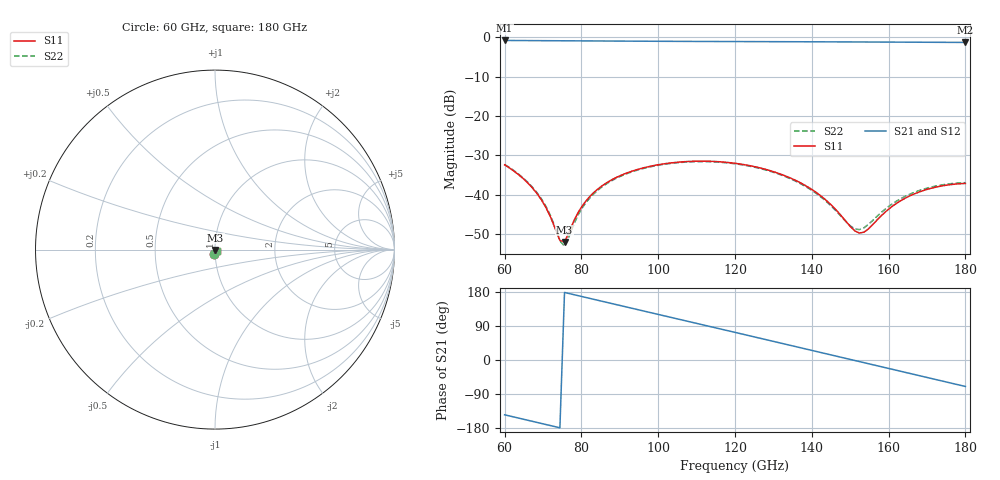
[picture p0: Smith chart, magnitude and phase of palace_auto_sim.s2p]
#  GHZ S DB R 50
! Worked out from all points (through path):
!   101 points, 60 GHz to 180 GHz, reference 50 ohm
!   highest |S21| = -0.85 dB at 60 GHz (marker M1); lowest = -1.3 dB at 180 GHz (marker M2)
!   group delay of S21, straight-line fit = 6.6 ps
!   lowest |S11| = -51.9 dB at 75.6 GHz (marker M3), VSWR 1.01, Z = 50.2 - j0.159 ohm
!   |S11| at or under -10 dB: start of sweep to end of sweep
!   |S22| runs from -53.0 to -31.6 dB; largest |S21 - S12| = 1e-13
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60  -32.38 -104.6  -0.85 -144.6  -0.85 -144.6  -32.28 -105.2
64.8  -35.83 -112.2  -0.87 -156.1  -0.87 -156.1  -35.68 -113.1
68.4  -39.61 -115.2  -0.89 -164.6  -0.89 -164.6  -39.39 -116.8
72  -45.68 -108.5  -0.91 -173.2  -0.91 -173.2  -45.34 -112.3
74.4  -51.52 -74.9  -0.92 -178.9  -0.92 -178.9  -51.64 -83.8
75.6  -51.94 -38.9  -0.93 178.2  -0.93 178.2  -52.99 -46.0
78  -46.65 -1.0  -0.94 172.5  -0.94 172.5  -47.46 -0.9
80.4  -42.54 6.5  -0.96 166.8  -0.96 166.8  -43.02 7.3
84  -38.73 5.9  -0.98 158.3  -0.98 158.3  -39.03 6.6
88.8  -35.71 -0.4  -1.00 146.9  -1.00 146.9  -35.92 0.2
100.8  -32.22 -21.7  -1.06 118.4  -1.06 118.4  -32.35 -21.2
110.4  -31.45 -40.5  -1.10 95.7  -1.10 95.7  -31.56 -40.0
120  -31.98 -60.2  -1.13 72.9  -1.13 72.9  -32.10 -59.6
130.8  -34.36 -81.9  -1.16 47.2  -1.16 47.2  -34.52 -80.9
140.4  -38.87 -96.9  -1.19 24.4  -1.19 24.4  -39.11 -94.7
145.2  -42.68 -98.1  -1.21 13.0  -1.21 13.0  -42.95 -94.2
150  -47.98 -80.3  -1.22 1.5  -1.22 1.5  -47.82 -72.5
152.4  -49.67 -54.6  -1.23 -4.2  -1.23 -4.2  -48.79 -47.4
154.8  -48.56 -27.8  -1.24 -9.9  -1.24 -9.9  -47.43 -25.0
160.8  -43.01 -7.4  -1.27 -24.2  -1.27 -24.2  -42.38 -8.3
169.2  -38.84 -14.6  -1.30 -44.2  -1.30 -44.2  -38.51 -15.7
180  -37.09 -33.2  -1.35 -69.8  -1.35 -69.8  -36.90 -34.1
